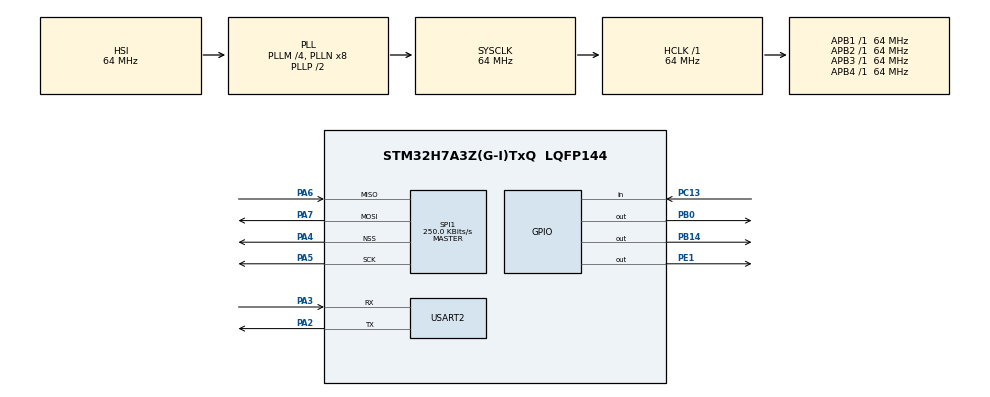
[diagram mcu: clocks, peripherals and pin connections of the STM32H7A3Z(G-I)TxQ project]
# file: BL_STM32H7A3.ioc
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CORTEX_M7.default_mode_Activation=1
Dma.Request0=SPI1_RX
Dma.Request1=SPI1_TX
Dma.SPI1_RX.0.Direction=DMA_PERIPH_TO_MEMORY
Dma.SPI1_RX.0.EventEnable=DISABLE
Dma.SPI1_RX.0.FIFOMode=DMA_FIFOMODE_DISABLE
Dma.SPI1_RX.0.Instance=DMA1_Stream0
Dma.SPI1_RX.0.MemDataAlignment=DMA_MDATAALIGN_BYTE
Dma.SPI1_RX.0.MemInc=DMA_MINC_ENABLE
Dma.SPI1_RX.0.Mode=DMA_NORMAL
Dma.SPI1_RX.0.PeriphDataAlignment=DMA_PDATAALIGN_BYTE
Dma.SPI1_RX.0.PeriphInc=DMA_PINC_DISABLE
Dma.SPI1_RX.0.Polarity=HAL_DMAMUX_REQ_GEN_RISING
Dma.SPI1_RX.0.Priority=DMA_PRIORITY_LOW
Dma.SPI1_RX.0.RequestNumber=1
Dma.SPI1_RX.0.SignalID=NONE
Dma.SPI1_RX.0.SyncEnable=DISABLE
Dma.SPI1_RX.0.SyncPolarity=HAL_DMAMUX_SYNC_NO_EVENT
Dma.SPI1_RX.0.SyncRequestNumber=1
Dma.SPI1_RX.0.SyncSignalID=NONE
Dma.SPI1_TX.1.Direction=DMA_MEMORY_TO_PERIPH
Dma.SPI1_TX.1.EventEnable=DISABLE
Dma.SPI1_TX.1.FIFOMode=DMA_FIFOMODE_DISABLE
Dma.SPI1_TX.1.Instance=DMA1_Stream1
Dma.SPI1_TX.1.MemDataAlignment=DMA_MDATAALIGN_BYTE
Dma.SPI1_TX.1.MemInc=DMA_MINC_ENABLE
Dma.SPI1_TX.1.Mode=DMA_NORMAL
Dma.SPI1_TX.1.PeriphDataAlignment=DMA_PDATAALIGN_BYTE
Dma.SPI1_TX.1.PeriphInc=DMA_PINC_DISABLE
Dma.SPI1_TX.1.Polarity=HAL_DMAMUX_REQ_GEN_RISING
Dma.SPI1_TX.1.Priority=DMA_PRIORITY_LOW
Dma.SPI1_TX.1.RequestNumber=1
Dma.SPI1_TX.1.SignalID=NONE
Dma.SPI1_TX.1.SyncEnable=DISABLE
Dma.SPI1_TX.1.SyncPolarity=HAL_DMAMUX_SYNC_NO_EVENT
Dma.SPI1_TX.1.SyncRequestNumber=1
Dma.SPI1_TX.1.SyncSignalID=NONE
Mcu.Family=STM32H7
Mcu.Name=STM32H7A3Z(G-I)TxQ
Mcu.Package=LQFP144
NUCLEO-H7A3ZI-Q.BUTTON=1
NUCLEO-H7A3ZI-Q.Bsp_Common_DEMO=true
NUCLEO-H7A3ZI-Q.LD1=true
NUCLEO-H7A3ZI-Q.LD2=true
NUCLEO-H7A3ZI-Q.LD3=true
NUCLEO-H7A3ZI-Q.VCP=true
NVIC.DMA1_Stream0_IRQn=true\:0\:0\:false\:false\:true\:false\:true\:true
NVIC.DMA1_Stream1_IRQn=true\:0\:0\:false\:false\:true\:false\:true\:true
NVIC.EXTI15_10_IRQn=true\:0\:0\:false\:false\:true\:false\:true\:true
NVIC.PriorityGroup=NVIC_PRIORITYGROUP_4
NVIC.SPI1_IRQn=true\:0\:0\:false\:false\:true\:false\:true\:true
NVIC.USART2_IRQn=true\:0\:0\:false\:false\:true\:true\:true\:true
PA2.Mode=Asynchronous
PA2.Signal=USART2_TX
PA3.Mode=Asynchronous
PA3.Signal=USART2_RX
PA4.Mode=NSS_Signal_Hard_Output
PA4.Signal=SPI1_NSS
PA5.Mode=Full_Duplex_Master
PA5.Signal=SPI1_SCK
PA6.Mode=Full_Duplex_Master
PA6.Signal=SPI1_MISO
PA7.Mode=Full_Duplex_Master
PA7.Signal=SPI1_MOSI
PB0.Signal=GPIO_Output
PB14.Signal=GPIO_Output
PC13.Signal=GPIO_Input
PC14-OSC32_IN.GPIO_Label=OSC32_IN
PC14-OSC32_IN.Signal=RCC_OSC32_IN
PC15-OSC32_OUT.GPIO_Label=OSC32_OUT
PC15-OSC32_OUT.Signal=RCC_OSC32_OUT
PD8.Signal=USART3_TX
PD9.Signal=USART3_RX
PE1.Signal=GPIO_Output
PH0-OSC_IN.GPIO_Label=PH0-MCU
PH0-OSC_IN.Signal=RCC_OSC_IN
PH1-OSC_OUT.GPIO_Label=PH1-MCU
PH1-OSC_OUT.Signal=RCC_OSC_OUT
ProjectManager.HeapSize=0x200
ProjectManager.StackSize=0x400
ProjectManager.TargetToolchain=STM32CubeIDE
RCC.ADCFreq_Value=129000000
RCC.APB1Freq_Value=64000000
RCC.APB2Freq_Value=64000000
RCC.APB3Freq_Value=64000000
RCC.APB4Freq_Value=64000000
RCC.CortexFreq_Value=64000000
RCC.DIVM1=4
RCC.DIVM3=1
RCC.DIVN1=8
RCC.DIVN3=24
RCC.DIVQ1=16
RCC.HCLKFreq_Value=64000000
RCC.HSE_VALUE=8000000
RCC.PLLFRACN=0
RCC.PWR_Regulator_Voltage_Scale=PWR_REGULATOR_VOLTAGE_SCALE0
RCC.SYSCLKFreq_VALUE=64000000
RCC.SYSCLKSource=RCC_SYSCLKSOURCE_PLLCLK
RCC.SupplySource=PWR_DIRECT_SMPS_SUPPLY
RCC.USBCLockSelection=RCC_USBCLKSOURCE_HSI48
RCC.USBFreq_Value=48000000
SPI1.BaudRatePrescaler=SPI_BAUDRATEPRESCALER_32
SPI1.CalculateBaudRate=250.0 KBits/s
SPI1.DataSize=SPI_DATASIZE_8BIT
SPI1.Direction=SPI_DIRECTION_2LINES
SPI1.Mode=SPI_MODE_MASTER
SPI1.VirtualNSS=VM_NSSHARD
SPI1.VirtualType=VM_MASTER
USART2.VirtualMode-Asynchronous=VM_ASYNC
VP_MEMORYMAP_VS_MEMORYMAP.Mode=CurAppReg
VP_NUCLEO-H7A3ZI-Q_VS_BSP_COMMON.Mode=COMMON
board=NUCLEO-H7A3ZI-Q

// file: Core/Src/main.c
/* USER CODE BEGIN Header */
/**
  ******************************************************************************
  * @file           : main.c
  * @brief          : Main program body
  ******************************************************************************
  * @attention
  *
  * Copyright (c) 2025 STMicroelectronics.
  * All rights reserved.
  *
  * This software is licensed under terms that can be found in the LICENSE file
  * in the root directory of this software component.
  * If no LICENSE file comes with this software, it is provided AS-IS.
  *
  ******************************************************************************
  */
/* USER CODE END Header */
#include "main.h"

/* USER CODE BEGIN Includes */
#include "stdio.h"
#include "stm32h7xx.h"
#include <string.h>
#include <stdlib.h>
#include <stdint.h>
#include <inttypes.h>
/* USER CODE END Includes */

/* USER CODE BEGIN PM */
typedef void (*pFunction)(void);
/* USER CODE END PM */

COM_InitTypeDef BspCOMInit;
__IO uint32_t BspButtonState = BUTTON_RELEASED;

SPI_HandleTypeDef hspi1;
DMA_HandleTypeDef hdma_spi1_rx;
DMA_HandleTypeDef hdma_spi1_tx;

UART_HandleTypeDef huart2;

/* USER CODE BEGIN PV */
#define FLASH_APP1_ADDRESS 0x08040000 // end of 256K Boot, APP1 256K flash in BANK1.
#define FLASH_APP2_ADDRESS 0x08140000 // APP2 256K flash in BANK2.

#define META_DATA_ADDRESS 0x08100000
#define META_DATA_IS_LOADED_ADDRESS 0x08101FF0
#define META_DATA_CRC_START_ADDRESS 0x08100060 //first 96 byte is for file_name:file_size:optional_bytes:padding

uint8_t data_read[1024];

uint8_t file_name_read[30];
uint32_t file_size_value_read = 0;
uint8_t file_size_read[20];
uint8_t optional_bytes_read[100];
uint8_t padding_read[100];
uint8_t is_loaded_check_byte[16];
uint8_t NOT_LOADED_BYTE[16] = {0}; // check

uint8_t check_value[50];
uint8_t TX_Buffer[50];
/* USER CODE END PV */

void SystemClock_Config(void);
static void MPU_Config(void);
static void MX_GPIO_Init(void);
static void MX_DMA_Init(void);
static void MX_USART2_UART_Init(void);
static void MX_SPI1_Init(void);

/* USER CODE BEGIN 0 */

void Update_TX_Buffer_concatinate(uint8_t *array1, uint8_t *array2, size_t len_array1, size_t len_array2){
	for(int i = 0; i < 50; i++){
		if((array1[i] != 0x00) & (i < len_array1)){
			TX_Buffer[i] = array1[i];
		}
		else if(i < len_array1){
			TX_Buffer[i] = 0x1a;
		}
		else if((array2[i - len_array1] != 0x00)){
			TX_Buffer[i] = array2[i - len_array1];
		}
		else {
			TX_Buffer[i] = 0x1a;
		}
	}
}

HAL_StatusTypeDef Single_Write_Is_Loaded_MetaData(uint32_t address, const uint8_t* data){
	if (address % 16 != 0){ // check the adress alignment
		return HAL_ERROR;
	}
	if ((FLASH_CR_LOCK & FLASH->CR2)){ //check if the CR is unlocked
		FLASH->KEYR2 = 0x45670123; // magic numbers for unlocking
		FLASH->KEYR2 = 0xCDEF89AB; // magic numbers for unlocking

	}
	FLASH->CR2 |= FLASH_CR_PG; // enter programming mode

    __IO volatile uint64_t *dst = (__IO uint64_t *) address;

    uint64_t first_qword  = *((uint64_t*)&data[0]);
    uint64_t second_qword;
    memcpy(&second_qword, data + 8, sizeof(second_qword)); // more robust

    //printf("%016" PRIX64 "\n", second_qword);
    //printf("%016" PRIX64 "\n", first_qword);

    dst[0] = first_qword;
    __DSB();
    //printf("Writing to flash: Address = 0x%08lX, Value = 0x%016llX\r\n", (uint32_t)&dst[0], first_qword);
    dst[1] = second_qword;
    __DSB();
    //printf("Writing to flash: Address = 0x%08lX, Value = 0x%016llX \r\n", (uint32_t)&dst[1], second_qword);

    while (FLASH->SR2 & FLASH_SR_QW) {
        // wait
    }

    // Wait for BSY flag to clear (programming is completed)
    while (FLASH->SR2 & FLASH_SR_BSY) {
        // wait
    }

    FLASH->CR2 &= ~FLASH_CR_PG;

    if(FLASH->SR2 & FLASH_SR_WRPERR){
    	printf("ERROR: An illegal erase/program operation is attempted,	WRPERR");
    	return HAL_ERROR;
    }
    else if(FLASH->SR2 & FLASH_SR_PGSERR){
    	printf("ERROR: Programming sequence is incorrect,	PGSERR");
    	return HAL_ERROR;
    }
    else if(FLASH->SR2 & FLASH_SR_STRBERR){
    	printf("ERROR:  Software has written several times to the same byte,	STRBERR");
    	return HAL_ERROR;
    }
    else if(FLASH->SR2 & FLASH_SR_INCERR){
    	printf("ERROR:  A programming inconsistency is detected,	INCERR");
    	return HAL_ERROR;
    }
    FLASH->CR2 |= FLASH_CR_LOCK; //lock flash
    return HAL_OK;
}

void Flash_Clear_Write_Errors_Bank1(void)
{
    FLASH->SR1 = FLASH_SR_WRPERR  |
                 FLASH_SR_PGSERR  |
                 FLASH_SR_STRBERR  |
                 FLASH_SR_INCERR  |
                 FLASH_SR_EOP;
}

void Flash_Clear_Read_Errors_Bank1(void)
{
    FLASH->SR1 = FLASH_SR_SNECCERR |
                 FLASH_SR_RDSERR   |
                 FLASH_SR_RDPERR  |
                 FLASH_SR_EOP;
}

void go2App1(void)
{
	uint32_t JumpAddress;
	pFunction Jump_To_Application;  // function pointer
	/* Check if there is smt installed in the app Flash region*/
	if(((*(uint32_t*) FLASH_APP1_ADDRESS) & 0x2FFE0000) == 0x24100000){ //
		printf("Jumping to application...	\r\n");
		HAL_Delay(100);//checks the first code

		// 1. Disable SysTick
		SysTick->CTRL = 0;
		SysTick->LOAD = 0;
		SysTick->VAL  = 0;

		// 2. Disable all interrupts (optional but recommended)
		__disable_irq();

		// 3. Clear all pending interrupts (especially SysTick)
		for (int i = 0; i < 8; i++) {
		    NVIC->ICER[i] = 0xFFFFFFFF;
		    NVIC->ICPR[i] = 0xFFFFFFFF;
		}

		//jump to the application
		JumpAddress = *(uint32_t *) (FLASH_APP1_ADDRESS + 4); // gets the applcation's reset handler adress
		Jump_To_Application = (pFunction) JumpAddress; // the adress function pointer becomes the adress of the reset
		/* Initialize the stack pointer of the application*/
		__set_MSP(*(uint32_t*)FLASH_APP1_ADDRESS);
		Jump_To_Application();
	}
	else{
		// no application is installed
		printf("No app1 found!	\r\n");

	}
}

void Erase_App1_Flash(void)
{
    HAL_FLASH_Unlock();

    FLASH_EraseInitTypeDef eraseInit;
    uint32_t SectorError;
    HAL_StatusTypeDef status;

    eraseInit.TypeErase    = FLASH_TYPEERASE_SECTORS; //h7a3 has sectors
    eraseInit.VoltageRange = 0;  // Adjusted according to Vdd, safe
    eraseInit.Sector       = FLASH_SECTOR_32; //
    eraseInit.NbSectors    = 96;
    eraseInit.Banks        = FLASH_BANK_1; //h7a3 has 2

    status = HAL_FLASHEx_Erase(&eraseInit, &SectorError);

    HAL_FLASH_Lock();

    if (status != HAL_OK) {
        // error handler might go there
        while (1);
    }

    printf("APP1 is erased!	\n\r");
}

uint16_t CRC16Compute(uint8_t *data, uint32_t length, uint16_t init_value, uint16_t key){
	uint16_t crc = init_value;
	for(uint32_t i = 0; i < length; i++){
		crc ^= (uint16_t) (data[i] << 8);// initial shift
		for(uint8_t j = 0; j < 8; j++){
			if(crc & 0x8000){//most significant is 1
				crc = (uint16_t) (crc << 1) ^ key; //xored with the key
			}
			else{
				crc = (uint16_t) crc << 1; // shifted once
			}
		}
	}
	return crc;
}

HAL_StatusTypeDef Single_Block_Read_App2(uint32_t address, uint8_t* data, uint32_t length){
	uint8_t CRC_H = *(uint8_t*)(((address - FLASH_APP2_ADDRESS) / 0x400) * 2 + META_DATA_CRC_START_ADDRESS); // 0x08100000 + padding(60)
	uint8_t CRC_L = *(uint8_t*)(((address - FLASH_APP2_ADDRESS) / 0x400) * 2 + META_DATA_CRC_START_ADDRESS + 1); // 0x08100000 + padding(60) + 1

	for(int i = 0; i < length; i++){
		data[i] =  *(uint8_t*) (address + i);
	}

	if(((CRC_L | (CRC_H << 8)) == CRC16Compute(data,  length, 0x0000, 0x1021))){	 // old: if( (CRC_L | (CRC_H << 8)) == CRC16Compute(received_block, 1024, 0x0000, 0x1021))
		return HAL_OK;
	}
	else{
		return HAL_ERROR;
	}
}

void First_Block_Read_App2(uint32_t address, uint32_t length){
	uint32_t file_size_read_value_temp = 0;
	uint8_t file_size_read_temp[20];
	memset(file_size_read_temp, 0, 20);
	uint8_t name_index_counter = 0;
	uint8_t optional_bytes_read_counter = 0;
	uint8_t padding_read_counter = 0;
	uint8_t fsm_step = 0;
	for(int i = 0; i < length; i++){
		uint8_t first_block_data = *(uint8_t*) (address + i);
		switch (fsm_step){
			case 0:
				if(first_block_data != 0x00){
					file_name_read[i] = first_block_data;
				}
				else{
					fsm_step++;

				}
				break;

			case 1:
				if(first_block_data != 0x20){
					file_size_read_value_temp = file_size_read_value_temp*10 + first_block_data - 48;
					file_size_read_temp[name_index_counter++] = first_block_data;

				}
				else{
					file_size_value_read = file_size_read_value_temp;
					memcpy(file_size_read, file_size_read_temp,20);
					fsm_step++;
				}
				break;

			case 2:
				if(first_block_data != 0x20){
					optional_bytes_read[optional_bytes_read_counter] = first_block_data;
					optional_bytes_read_counter++;
				}
				else{
					fsm_step++;
				}
				break;

			case 3:
				if(first_block_data != 0x00){
					padding_read[padding_read_counter] = first_block_data;
					padding_read_counter++;
				}
				else{
					fsm_step++;
				}
				break;

			default:
				break;
		}
	}

}

HAL_StatusTypeDef Last_Block_Read_App2(uint32_t address, uint8_t* data, uint32_t length, uint16_t last_data_index_read){
	uint8_t CRC_H = *(uint8_t*)(((address - FLASH_APP2_ADDRESS) / 0x400) * 2 + META_DATA_CRC_START_ADDRESS);
	uint8_t CRC_L = *(uint8_t*)(((address - FLASH_APP2_ADDRESS) / 0x400) * 2 + META_DATA_CRC_START_ADDRESS + 1);

	for(int i = 0; i < length; i++){
		if(i < last_data_index_read - 1){
			data[i] =  *(uint8_t*) (address + i);
		}
		else if (i == last_data_index_read - 1){ // check if the last byte is not 0x1a
			if(((*(uint8_t*) (address + i)) == 26)){
				printf("File size problem during read (file size information is larger than actual size)	\r\n");
				return HAL_ERROR;
			}
			data[i] =  *(uint8_t*) (address + i);
		}
		else{
			if((*(uint8_t*) (address + i) != 0x1a)){
				printf("File size problem during read (file size information is smaller than actual size) \r\n");
				return HAL_ERROR;
			}
			data[i] =  *(uint8_t*) (address + i);
		}
	}

	if(((CRC_L | (CRC_H << 8)) == CRC16Compute(data,  length, 0x0000, 0x1021))){	 // old: if( (CRC_L | (CRC_H << 8)) == CRC16Compute(received_block, 1024, 0x0000, 0x1021))
		return HAL_OK;
	}
	else{
		printf("CRC problem during last read.	\r\n");
		return HAL_ERROR;
	}
}

HAL_StatusTypeDef Multiple_Read_App2_Flash(uint32_t address, uint8_t* data, uint32_t length){
	First_Block_Read_App2(META_DATA_ADDRESS, 128);
	uint16_t num_of_blocks = file_size_value_read / 1024 + 1;
	uint16_t last_data_index_read = file_size_value_read % 1024;
	for(int i = 0; i < num_of_blocks; i++){
		if(i == num_of_blocks - 1){

			if(Last_Block_Read_App2(address + i*1024, data, length, last_data_index_read) == HAL_ERROR){
				printf("File size ERROR !\n\r");
				return HAL_ERROR;
			}
		}
		else if((Single_Block_Read_App2(address + i*1024, data, length) == HAL_ERROR)){
			printf("CRC check ERROR !\n\r");
			//Erase_App2_Flash(); erase after the check in
			return HAL_ERROR;
		}
	}

	printf("CRC check OK !\n\r");
	return HAL_OK;
}

HAL_StatusTypeDef Single_Write_App1_Flash(uint32_t address, const uint8_t* data){
	if (address % 16 != 0){ // check the adress alignment
		return HAL_ERROR;
	}
	if ((FLASH_CR_LOCK & FLASH->CR1)){ //check if the CR is unlocked
		FLASH->KEYR1 = 0x45670123; // magic numbers for unlocking
		FLASH->KEYR1 = 0xCDEF89AB; // magic numbers for unlocking

	}
	FLASH->CR1 |= FLASH_CR_PG; // enter programming mode

    __IO volatile uint64_t *dst = (__IO uint64_t *) address;

    uint64_t first_qword  = *((uint64_t*)&data[0]);
    uint64_t second_qword;
    memcpy(&second_qword, data + 8, sizeof(second_qword)); // more robust

    //printf("%016" PRIX64 "\n", second_qword);
    //printf("%016" PRIX64 "\n", first_qword);

    dst[0] = first_qword;
    __DSB();
    //printf("Writing to flash: Address = 0x%08lX, Value = 0x%016llX\r\n", (uint32_t)&dst[0], first_qword);
    dst[1] = second_qword;
    __DSB();
    //printf("Writing to flash: Address = 0x%08lX, Value = 0x%016llX \r\n", (uint32_t)&dst[1], second_qword);

    while (FLASH->SR1 & FLASH_SR_QW) {
        // wait
    }

    // Wait for BSY flag to clear (programming is completed)
    while (FLASH->SR1 & FLASH_SR_BSY) {
        // wait
    }

    FLASH->CR1 &= ~FLASH_CR_PG;

    if(FLASH->SR1 & FLASH_SR_WRPERR){
    	printf("ERROR: An illegal erase/program operation is attempted,	WRPERR");
    	return HAL_ERROR;
    }
    else if(FLASH->SR1 & FLASH_SR_PGSERR){
    	printf("ERROR: Programming sequence is incorrect,	PGSERR");
    	return HAL_ERROR;
    }
    else if(FLASH->SR1 & FLASH_SR_STRBERR){
    	printf("ERROR:  Software has written several times to the same byte,	STRBERR");
    	return HAL_ERROR;
    }
    else if(FLASH->SR1 & FLASH_SR_INCERR){
    	printf("ERROR:  A programming inconsistency is detected,	INCERR");
    	return HAL_ERROR;
    }
    FLASH->CR1 |= FLASH_CR_LOCK; //lock flash
    return HAL_OK;
}

HAL_StatusTypeDef Multiple_Write_App1_Flash(uint32_t address, const uint8_t* data16, uint16_t block_size){

	Flash_Clear_Write_Errors_Bank1(); // clear all the error flags
	for(int i = 0; i < block_size; i += 16){
		HAL_StatusTypeDef res = Single_Write_App1_Flash((address + i), &data16[i]);
	    if (res != HAL_OK) {
	    	FLASH->CR1 |= FLASH_CR_LOCK;
	        return HAL_ERROR;
	    }
	}

	return HAL_OK;
	//printf("Block writing has finished	\r\n");
}

HAL_StatusTypeDef Single_Block_Copy_App2(uint32_t write_address, uint32_t read_address, uint8_t* read_data, uint32_t read_length){
	uint8_t CRC_H = *(uint8_t*)(((read_address - FLASH_APP2_ADDRESS) / 0x400) * 2 + META_DATA_CRC_START_ADDRESS); // 0x08100000 + padding(60)
	uint8_t CRC_L = *(uint8_t*)(((read_address - FLASH_APP2_ADDRESS) / 0x400) * 2 + META_DATA_CRC_START_ADDRESS + 1); // 0x08100000 + padding(60) + 1

	for(int i = 0; i < read_length; i++){
		read_data[i] =  *(uint8_t*) (read_address + i);
	}

	if(((CRC_L | (CRC_H << 8)) == CRC16Compute(read_data,  read_length, 0x0000, 0x1021))){	 // old: if( (CRC_L | (CRC_H << 8)) == CRC16Compute(received_block, 1024, 0x0000, 0x1021))
		if(Multiple_Write_App1_Flash(write_address, read_data, read_length) == HAL_ERROR){
			return HAL_ERROR;
		}
	}
	else{
		return HAL_ERROR;
	}
	return HAL_OK;
}

HAL_StatusTypeDef Last_Block_Copy_App2(uint32_t write_address, uint32_t read_address, uint8_t* read_data, uint32_t read_length, uint16_t last_data_index_read){
	uint8_t CRC_H = *(uint8_t*)(((read_address - FLASH_APP2_ADDRESS) / 0x400) * 2 + META_DATA_CRC_START_ADDRESS);
	uint8_t CRC_L = *(uint8_t*)(((read_address - FLASH_APP2_ADDRESS) / 0x400) * 2 + META_DATA_CRC_START_ADDRESS + 1);

	for(int i = 0; i < read_length; i++){
		if(i < last_data_index_read - 1){
			read_data[i] =  *(uint8_t*) (read_address + i);
		}
		else if (i == last_data_index_read - 1){ // check if the last byte is not 0x1a
			if(((*(uint8_t*) (read_address + i)) == 26)){
				printf("File size problem during read (file size information is larger than actual size)	\r\n");
				return HAL_ERROR;
			}
			read_data[i] =  *(uint8_t*) (read_address + i);
		}
		else{
			if((*(uint8_t*) (read_address + i) != 0x1a)){
				printf("File size problem during read (file size information is smaller than actual size) \r\n");
				return HAL_ERROR;
			}
			read_data[i] =  *(uint8_t*) (read_address + i);
		}
	}

	if(((CRC_L | (CRC_H << 8)) == CRC16Compute(read_data,  read_length, 0x0000, 0x1021))){	 // old: if( (CRC_L | (CRC_H << 8)) == CRC16Compute(received_block, 1024, 0x0000, 0x1021))
		if(Multiple_Write_App1_Flash(write_address, read_data, read_length) == HAL_ERROR){
			return HAL_ERROR;
		}
	}
	else{
		printf("CRC problem during last read.	\r\n");
		return HAL_ERROR;
	}
	return HAL_OK;
}

HAL_StatusTypeDef Multiple_Copy_App2(uint32_t write_address, uint32_t read_address, uint8_t* read_data, uint32_t read_length){
	uint16_t num_of_blocks = file_size_value_read / 1024 + 1;
	uint16_t last_data_index_read = file_size_value_read % 1024;
	for(int i = 0; i < num_of_blocks; i++){
		if(i == num_of_blocks - 1){
			if(Last_Block_Copy_App2(write_address + i*1024, read_address + i*1024, read_data, read_length, last_data_index_read) == HAL_ERROR){
				printf("File size ERROR !\n\r");
				return HAL_ERROR;
			}
		}
		else if((Single_Block_Copy_App2(write_address + i*1024, read_address + i*1024, read_data, read_length) == HAL_ERROR)){
			printf("CRC check ERROR !\n\r");
			//Erase_App2_Flash(); erase after the check in
			return HAL_ERROR;
		}
	}

	printf("CRC check OK !\n\r");
	return HAL_OK;
}

HAL_StatusTypeDef MetaData_Is_Loaded_Read(uint32_t address, uint8_t* data, uint32_t length){
	for(uint8_t i = 0; i < length; i++){
		if(i !=  *(uint8_t*) (address + i)){
			return HAL_ERROR;
		}
	}
	return HAL_OK;
}

HAL_StatusTypeDef APP2_Check_Read_Copy(uint32_t metadata_address, uint8_t* metadata_data, uint32_t metadata_data_length, uint32_t app_address, uint8_t* app_data,uint32_t app_data_length, uint32_t write_address){
	if(MetaData_Is_Loaded_Read(metadata_address , metadata_data, metadata_data_length) == HAL_OK){
		if(((*(uint32_t*) FLASH_APP2_ADDRESS) & 0x2FFE0000) == 0x24100000){
			if((Multiple_Read_App2_Flash(app_address , app_data, app_data_length) == HAL_OK)){
				printf("%s(%s byte) was read successfully	\r\n",(char*)file_name_read, (char*)file_size_read);
				printf("Press the blue button to load old programme in 5 seconds.	\r\n");
			    for(int i = 0; i < 20; i++){
			    	if (BspButtonState == BUTTON_PRESSED)
			    	{
			    		/* Update button state */
			    		Single_Write_Is_Loaded_MetaData(META_DATA_IS_LOADED_ADDRESS, NOT_LOADED_BYTE);
			    		return HAL_OK;

			    		BspButtonState = BUTTON_RELEASED;
			    		/* -- Sample board code to toggle leds ---- */
			    		/* ..... Perform your action ..... */
			    	}
			    	HAL_Delay(250);
			    	BSP_LED_Toggle(LED_RED);
			    }
				Erase_App1_Flash();
				//Single_Block_Copy_App2(write_address, app_address, app_data, app_data_length);
				Multiple_Copy_App2(write_address, app_address, app_data, app_data_length);
				Update_TX_Buffer_concatinate(file_name_read, file_size_read, sizeof(file_name_read), sizeof(file_size_read));
				HAL_SPI_Transmit_DMA(&hspi1, TX_Buffer, 50);
				return HAL_OK;

			}
			else{
				printf("CRC Read Error!	\r\n");
				return HAL_ERROR;
			}
		}
		else{
			printf("APP start code error	\r\n");
			return HAL_ERROR;
		}
	}
	else{
		printf("No new APP found!	\r\n");
		return HAL_ERROR;
	}
}
/* USER CODE END 0 */

int main(void)
{

  /* MPU Configuration--------------------------------------------------------*/
  MPU_Config();

  /* MCU Configuration--------------------------------------------------------*/

  /* Reset of all peripherals, Initializes the Flash interface and the Systick. */
  HAL_Init();

  /* Configure the system clock */
  SystemClock_Config();

  /* Initialize all configured peripherals */
  MX_GPIO_Init();
  MX_DMA_Init();
  MX_USART2_UART_Init();
  MX_SPI1_Init();

  /* Initialize leds */
  BSP_LED_Init(LED_GREEN);
  BSP_LED_Init(LED_YELLOW);
  BSP_LED_Init(LED_RED);

  /* Initialize USER push-button, will be used to trigger an interrupt each time it's pressed.*/
  BSP_PB_Init(BUTTON_USER, BUTTON_MODE_EXTI);

  /* Initialize COM1 port (115200, 8 bits (7-bit data + 1 stop bit), no parity */
  BspCOMInit.BaudRate   = 115200;
  BspCOMInit.WordLength = COM_WORDLENGTH_8B;
  BspCOMInit.StopBits   = COM_STOPBITS_1;
  BspCOMInit.Parity     = COM_PARITY_NONE;
  BspCOMInit.HwFlowCtl  = COM_HWCONTROL_NONE;
  if (BSP_COM_Init(COM1, &BspCOMInit) != BSP_ERROR_NONE)
  {
    Error_Handler();
  }

  /* USER CODE BEGIN BSP */

  /* -- Sample board code to send message over COM1 port ---- */
  printf("IAP DENEMELERI GUN 17\n\r");;

  /* -- Sample board code to switch on leds ---- */
  BSP_LED_On(LED_GREEN);
  BSP_LED_On(LED_YELLOW);
  BSP_LED_On(LED_RED);

  /* USER CODE END BSP */

  /* Infinite loop */
  /* USER CODE BEGIN WHILE */

  printf("BOOTLOADER START!	\r\n");

  while (1)
  {

	APP2_Check_Read_Copy(META_DATA_IS_LOADED_ADDRESS, is_loaded_check_byte, sizeof(is_loaded_check_byte),FLASH_APP2_ADDRESS , data_read, sizeof(data_read), FLASH_APP1_ADDRESS);
    /* -- Sample board code for User push-button in interrupt mode ---- */
    if (BspButtonState == BUTTON_PRESSED)
    {
      /* Update button state */
      BspButtonState = BUTTON_RELEASED;
      /* -- Sample board code to toggle leds ---- */
      BSP_LED_Toggle(LED_GREEN);
      BSP_LED_Toggle(LED_YELLOW);
      BSP_LED_Toggle(LED_RED);

      /* ..... Perform your action ..... */
    }
    go2App1();

	HAL_Delay(15000);
    /* USER CODE END WHILE */

  }
}

void SystemClock_Config(void)
{
  RCC_OscInitTypeDef RCC_OscInitStruct = {0};
  RCC_ClkInitTypeDef RCC_ClkInitStruct = {0};

  /*AXI clock gating */
  RCC->CKGAENR = 0xE003FFFF;

  /** Supply configuration update enable
  */
  HAL_PWREx_ConfigSupply(PWR_DIRECT_SMPS_SUPPLY);

  /** Configure the main internal regulator output voltage
  */
  __HAL_PWR_VOLTAGESCALING_CONFIG(PWR_REGULATOR_VOLTAGE_SCALE0);

  while(!__HAL_PWR_GET_FLAG(PWR_FLAG_VOSRDY)) {}

  /** Initializes the RCC Oscillators according to the specified parameters
  * in the RCC_OscInitTypeDef structure.
  */
  RCC_OscInitStruct.OscillatorType = RCC_OSCILLATORTYPE_HSI;
  RCC_OscInitStruct.HSIState = RCC_HSI_DIV1;
  RCC_OscInitStruct.HSICalibrationValue = 64;
  RCC_OscInitStruct.PLL.PLLState = RCC_PLL_ON;
  RCC_OscInitStruct.PLL.PLLSource = RCC_PLLSOURCE_HSI;
  RCC_OscInitStruct.PLL.PLLM = 4;
  RCC_OscInitStruct.PLL.PLLN = 8;
  RCC_OscInitStruct.PLL.PLLP = 2;
  RCC_OscInitStruct.PLL.PLLQ = 16;
  RCC_OscInitStruct.PLL.PLLR = 2;
  RCC_OscInitStruct.PLL.PLLRGE = RCC_PLL1VCIRANGE_3;
  RCC_OscInitStruct.PLL.PLLVCOSEL = RCC_PLL1VCOWIDE;
  RCC_OscInitStruct.PLL.PLLFRACN = 0;
  if (HAL_RCC_OscConfig(&RCC_OscInitStruct) != HAL_OK)
  {
    Error_Handler();
  }

  /** Initializes the CPU, AHB and APB buses clocks
  */
  RCC_ClkInitStruct.ClockType = RCC_CLOCKTYPE_HCLK|RCC_CLOCKTYPE_SYSCLK
                              |RCC_CLOCKTYPE_PCLK1|RCC_CLOCKTYPE_PCLK2
                              |RCC_CLOCKTYPE_D3PCLK1|RCC_CLOCKTYPE_D1PCLK1;
  RCC_ClkInitStruct.SYSCLKSource = RCC_SYSCLKSOURCE_PLLCLK;
  RCC_ClkInitStruct.SYSCLKDivider = RCC_SYSCLK_DIV1;
  RCC_ClkInitStruct.AHBCLKDivider = RCC_HCLK_DIV1;
  RCC_ClkInitStruct.APB3CLKDivider = RCC_APB3_DIV1;
  RCC_ClkInitStruct.APB1CLKDivider = RCC_APB1_DIV1;
  RCC_ClkInitStruct.APB2CLKDivider = RCC_APB2_DIV1;
  RCC_ClkInitStruct.APB4CLKDivider = RCC_APB4_DIV1;

  if (HAL_RCC_ClockConfig(&RCC_ClkInitStruct, FLASH_LATENCY_1) != HAL_OK)
  {
    Error_Handler();
  }
}

static void MX_SPI1_Init(void)
{

  /* SPI1 parameter configuration*/
  hspi1.Instance = SPI1;
  hspi1.Init.Mode = SPI_MODE_MASTER;
  hspi1.Init.Direction = SPI_DIRECTION_2LINES;
  hspi1.Init.DataSize = SPI_DATASIZE_8BIT;
  hspi1.Init.CLKPolarity = SPI_POLARITY_LOW;
  hspi1.Init.CLKPhase = SPI_PHASE_1EDGE;
  hspi1.Init.NSS = SPI_NSS_HARD_OUTPUT;
  hspi1.Init.BaudRatePrescaler = SPI_BAUDRATEPRESCALER_32;
  hspi1.Init.FirstBit = SPI_FIRSTBIT_MSB;
  hspi1.Init.TIMode = SPI_TIMODE_DISABLE;
  hspi1.Init.CRCCalculation = SPI_CRCCALCULATION_DISABLE;
  hspi1.Init.CRCPolynomial = 0x0;
  hspi1.Init.NSSPMode = SPI_NSS_PULSE_ENABLE;
  hspi1.Init.NSSPolarity = SPI_NSS_POLARITY_LOW;
  hspi1.Init.FifoThreshold = SPI_FIFO_THRESHOLD_01DATA;
  hspi1.Init.TxCRCInitializationPattern = SPI_CRC_INITIALIZATION_ALL_ZERO_PATTERN;
  hspi1.Init.RxCRCInitializationPattern = SPI_CRC_INITIALIZATION_ALL_ZERO_PATTERN;
  hspi1.Init.MasterSSIdleness = SPI_MASTER_SS_IDLENESS_00CYCLE;
  hspi1.Init.MasterInterDataIdleness = SPI_MASTER_INTERDATA_IDLENESS_00CYCLE;
  hspi1.Init.MasterReceiverAutoSusp = SPI_MASTER_RX_AUTOSUSP_DISABLE;
  hspi1.Init.MasterKeepIOState = SPI_MASTER_KEEP_IO_STATE_DISABLE;
  hspi1.Init.IOSwap = SPI_IO_SWAP_DISABLE;
  if (HAL_SPI_Init(&hspi1) != HAL_OK)
  {
    Error_Handler();
  }

}

static void MX_USART2_UART_Init(void)
{

  huart2.Instance = USART2;
  huart2.Init.BaudRate = 115200;
  huart2.Init.WordLength = UART_WORDLENGTH_8B;
  huart2.Init.StopBits = UART_STOPBITS_1;
  huart2.Init.Parity = UART_PARITY_NONE;
  huart2.Init.Mode = UART_MODE_TX_RX;
  huart2.Init.HwFlowCtl = UART_HWCONTROL_NONE;
  huart2.Init.OverSampling = UART_OVERSAMPLING_16;
  huart2.Init.OneBitSampling = UART_ONE_BIT_SAMPLE_DISABLE;
  huart2.Init.ClockPrescaler = UART_PRESCALER_DIV1;
  huart2.AdvancedInit.AdvFeatureInit = UART_ADVFEATURE_NO_INIT;
  if (HAL_UART_Init(&huart2) != HAL_OK)
  {
    Error_Handler();
  }
  if (HAL_UARTEx_SetTxFifoThreshold(&huart2, UART_TXFIFO_THRESHOLD_1_8) != HAL_OK)
  {
    Error_Handler();
  }
  if (HAL_UARTEx_SetRxFifoThreshold(&huart2, UART_RXFIFO_THRESHOLD_1_8) != HAL_OK)
  {
    Error_Handler();
  }
  if (HAL_UARTEx_DisableFifoMode(&huart2) != HAL_OK)
  {
    Error_Handler();
  }

}

static void MX_DMA_Init(void)
{

  /* DMA controller clock enable */
  __HAL_RCC_DMA1_CLK_ENABLE();

  /* DMA interrupt init */
  /* DMA1_Stream0_IRQn interrupt configuration */
  HAL_NVIC_SetPriority(DMA1_Stream0_IRQn, 0, 0);
  HAL_NVIC_EnableIRQ(DMA1_Stream0_IRQn);
  /* DMA1_Stream1_IRQn interrupt configuration */
  HAL_NVIC_SetPriority(DMA1_Stream1_IRQn, 0, 0);
  HAL_NVIC_EnableIRQ(DMA1_Stream1_IRQn);

}

static void MX_GPIO_Init(void)
{

  /* GPIO Ports Clock Enable */
  __HAL_RCC_GPIOC_CLK_ENABLE();
  __HAL_RCC_GPIOH_CLK_ENABLE();
  __HAL_RCC_GPIOA_CLK_ENABLE();

}

 /* MPU Configuration */

void MPU_Config(void)
{
  MPU_Region_InitTypeDef MPU_InitStruct = {0};

  /* Disables the MPU */
  HAL_MPU_Disable();

  /** Initializes and configures the Region and the memory to be protected
  */
  MPU_InitStruct.Enable = MPU_REGION_ENABLE;
  MPU_InitStruct.Number = MPU_REGION_NUMBER0;
  MPU_InitStruct.BaseAddress = 0x0;
  MPU_InitStruct.Size = MPU_REGION_SIZE_4GB;
  MPU_InitStruct.SubRegionDisable = 0x87;
  MPU_InitStruct.TypeExtField = MPU_TEX_LEVEL0;
  MPU_InitStruct.AccessPermission = MPU_REGION_NO_ACCESS;
  MPU_InitStruct.DisableExec = MPU_INSTRUCTION_ACCESS_DISABLE;
  MPU_InitStruct.IsShareable = MPU_ACCESS_SHAREABLE;
  MPU_InitStruct.IsCacheable = MPU_ACCESS_NOT_CACHEABLE;
  MPU_InitStruct.IsBufferable = MPU_ACCESS_NOT_BUFFERABLE;

  HAL_MPU_ConfigRegion(&MPU_InitStruct);
  /* Enables the MPU */
  HAL_MPU_Enable(MPU_PRIVILEGED_DEFAULT);

}

/**
  * @brief BSP Push Button callback
  * @param Button Specifies the pressed button
  * @retval None
  */
void BSP_PB_Callback(Button_TypeDef Button)
{
  if (Button == BUTTON_USER)
  {
    BspButtonState = BUTTON_PRESSED;
  }
}

void Error_Handler(void)
{
  __disable_irq();
  while (1)
  {
  }
}
